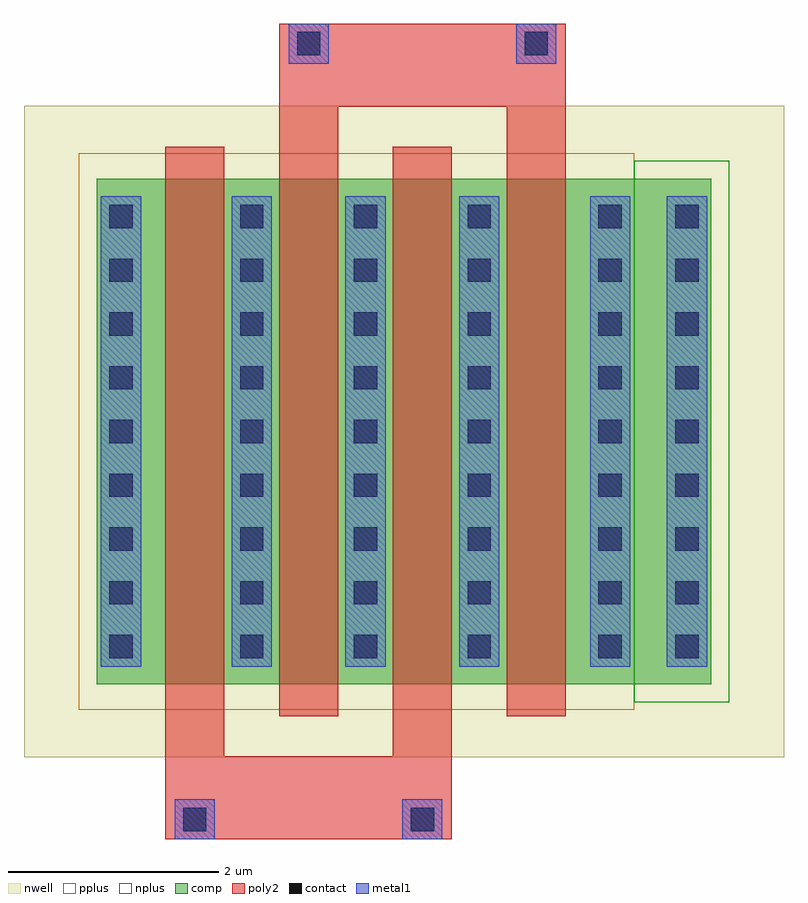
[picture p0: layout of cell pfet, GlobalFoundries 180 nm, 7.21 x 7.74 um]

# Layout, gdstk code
import gdstk
lib = gdstk.Library(unit=1e-6, precision=1e-09)
def R(c, l, rs):  # rectangles x0, y0, x1, y1
    for r in rs: c.add(gdstk.rectangle(r[:2], r[2:], *l))
def A(c, l, x, y, w, h, nx, ny, dx, dy):  # array of equal rectangles
    R(c, l, [(x+i*dx, y+j*dy, x+i*dx+w, y+j*dy+h) for i in range(nx) for j in range(ny)])
nwell = (21, 0)
comp = (22, 0)
poly2 = (30, 0)
pplus = (31, 0)
nplus = (32, 0)
contact = (33, 0)
metal1 = (34, 0)

pfet = lib.new_cell('pfet')
R(pfet, nwell, [(-1.15,-0.69,6.06,5.49)])
R(pfet, comp, [(-0.46,0,0,4.8), (0,0,4.18,4.8), (4.18,0,4.64,4.8), (4.64,0,5.37,4.8)])
A(pfet, poly2, 0.19, -0.3, 0.56, 5.4, 4, 1, 1.08, 0)
R(pfet, poly2, [(0.19,-1.47,2.91,-0.68), (0.19,-0.68,0.75,-0.3), (2.35,-0.68,2.91,-0.3), (1.27,5.1,1.83,5.48), (3.43,5.1,3.99,5.48), (1.27,5.48,3.99,6.27)])
R(pfet, pplus, [(-0.63,-0.24,4.64,5.04)])
R(pfet, nplus, [(4.64,-0.17,5.54,4.97)])
A(pfet, contact, -0.34, 0.25, 0.22, 0.22, 1, 9, 0, 0.51)
A(pfet, contact, 0.9, 0.25, 0.22, 0.22, 3, 9, 1.08, 0.51)
A(pfet, contact, 4.3, 0.25, 0.22, 0.22, 1, 9, 0, 0.51)
A(pfet, contact, 5.03, 0.25, 0.22, 0.22, 1, 9, 0, 0.51)
R(pfet, contact, [(0.36,-1.39,0.58,-1.17), (2.52,-1.39,2.74,-1.17), (1.44,5.97,1.66,6.19), (3.6,5.97,3.82,6.19)])
A(pfet, metal1, 0.82, 0.17, 0.38, 4.46, 3, 1, 1.08, 0)
R(pfet, metal1, [(0.28,-1.47,0.66,-1.09), (2.44,-1.47,2.82,-1.09), (-0.42,0.17,-0.04,4.63), (4.22,0.17,4.6,4.63), (4.95,0.17,5.33,4.63), (1.36,5.89,1.74,6.27), (3.52,5.89,3.9,6.27)])

lib.write_gds('pfet.gds')
